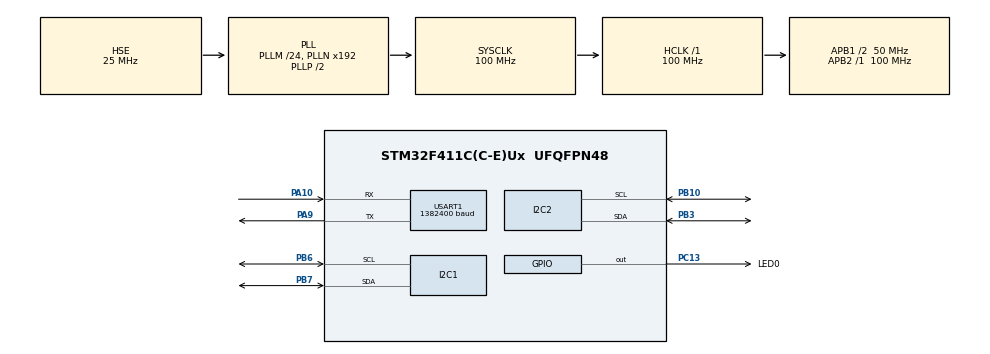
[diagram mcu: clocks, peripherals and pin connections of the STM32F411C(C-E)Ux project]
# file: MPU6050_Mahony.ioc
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I2C1.I2C_Mode=I2C_Fast
I2C2.I2C_Mode=I2C_Fast
Mcu.Family=STM32F4
Mcu.Name=STM32F411C(C-E)Ux
Mcu.Package=UFQFPN48
NVIC.PriorityGroup=NVIC_PRIORITYGROUP_4
NVIC.TIM1_UP_TIM10_IRQn=true\:15\:0\:false\:false\:true\:false\:true\:true
NVIC.TimeBase=TIM1_UP_TIM10_IRQn
NVIC.TimeBaseIP=TIM1
PA10.Mode=Asynchronous
PA10.Signal=USART1_RX
PA13.Mode=Serial_Wire
PA13.Signal=SYS_JTMS-SWDIO
PA14.Mode=Serial_Wire
PA14.Signal=SYS_JTCK-SWCLK
PA9.Mode=Asynchronous
PA9.Signal=USART1_TX
PB10.Mode=I2C
PB10.Signal=I2C2_SCL
PB3.Mode=I2C
PB3.Signal=I2C2_SDA
PB6.Mode=I2C
PB6.Signal=I2C1_SCL
PB7.Mode=I2C
PB7.Signal=I2C1_SDA
PC13-ANTI_TAMP.GPIO_Label=LED0
PC13-ANTI_TAMP.Signal=GPIO_Output
PC14-OSC32_IN.Mode=LSE-External-Oscillator
PC14-OSC32_IN.Signal=RCC_OSC32_IN
PC15-OSC32_OUT.Mode=LSE-External-Oscillator
PC15-OSC32_OUT.Signal=RCC_OSC32_OUT
PH0\ -\ OSC_IN.Mode=HSE-External-Oscillator
PH0\ -\ OSC_IN.Signal=RCC_OSC_IN
PH1\ -\ OSC_OUT.Mode=HSE-External-Oscillator
PH1\ -\ OSC_OUT.Signal=RCC_OSC_OUT
ProjectManager.HeapSize=0x800
ProjectManager.StackSize=0x800
ProjectManager.TargetToolchain=MDK-ARM V5.32
RCC.48MHZClocksFreq_Value=50000000
RCC.AHBFreq_Value=100000000
RCC.APB1CLKDivider=RCC_HCLK_DIV2
RCC.APB1Freq_Value=50000000
RCC.APB1TimFreq_Value=100000000
RCC.APB2Freq_Value=100000000
RCC.APB2TimFreq_Value=100000000
RCC.CortexFreq_Value=100000000
RCC.HCLKFreq_Value=100000000
RCC.HSE_VALUE=25000000
RCC.HSI_VALUE=16000000
RCC.PLLM=24
RCC.PLLSourceVirtual=RCC_PLLSOURCE_HSE
RCC.SYSCLKFreq_VALUE=100000000
RCC.SYSCLKSource=RCC_SYSCLKSOURCE_PLLCLK
RCC.VCOOutputFreq_Value=200000000
USART1.BaudRate=1382400
USART1.VirtualMode=VM_ASYNC
VP_SYS_VS_tim1.Mode=TIM1
board=custom

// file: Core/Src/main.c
/* USER CODE BEGIN Header */
/**
  ******************************************************************************
  * @file           : main.c
  * @brief          : Main program body
  ******************************************************************************
  * @attention
  *
  * Copyright (c) 2024 STMicroelectronics.
  * All rights reserved.
  *
  * This software is licensed under terms that can be found in the LICENSE file
  * in the root directory of this software component.
  * If no LICENSE file comes with this software, it is provided AS-IS.
  *
  ******************************************************************************
  */
/* USER CODE END Header */
#include "main.h"
#include "i2c.h"
#include "usart.h"
#include "gpio.h"

/* USER CODE BEGIN Includes */
#include "stm32f4xx_it.h"
#include "mpu6050.h"
/* USER CODE END Includes */

/* USER CODE BEGIN PV */
extern int offsetAcGyA[6];
extern int offsetAcGyB[6];
extern int offsetAcGyC[6];
extern int offsetAcGyD[6];
extern int offsetAcGyE[6];
extern int offsetAcGyF[6];
extern int offsetAcGyG[6];
extern int offsetAcGyH[6];
extern int offsetAcGyI[6];
extern int offsetAcGyJ[6];
extern uint8_t printFlag;
/* USER CODE END PV */

void SystemClock_Config(void);

int main(void)
{
  /* USER CODE BEGIN 1 */
	uint8_t firstUpdateFlag = 0;
  /* USER CODE END 1 */

  /* MCU Configuration--------------------------------------------------------*/

  /* Reset of all peripherals, Initializes the Flash interface and the Systick. */
  HAL_Init();

  /* Configure the system clock */
  SystemClock_Config();

  /* USER CODE BEGIN SysInit */
	cycleCounterInit();
  /* USER CODE END SysInit */

  /* Initialize all configured peripherals */
  MX_GPIO_Init();
  MX_I2C1_Init();
  MX_I2C2_Init();
  MX_USART1_UART_Init();
  /* USER CODE BEGIN 2 */
  Delay_ms(3000);
  HAL_GPIO_TogglePin(LED0_GPIO_Port, LED0_Pin);
	sensor_init(&armR, 		&hi2c2, 1, offsetAcGyA);
	sensor_init(&forearmR, 	&hi2c2, 0, offsetAcGyB);
	sensor_init(&armL, 		&hi2c2, 6, offsetAcGyJ);
	sensor_init(&forearmL, 	&hi2c2, 7, offsetAcGyD);
	sensor_init(&trunk, 	&hi2c2, 3, offsetAcGyE);
	sensor_init(&upperlegR, &hi2c1, 2, offsetAcGyF);
	sensor_init(&legR, 		&hi2c1, 3, offsetAcGyG);
	sensor_init(&upperlegL,	&hi2c1, 4, offsetAcGyH);
	sensor_init(&legL, 		&hi2c1, 5, offsetAcGyI);
	sensor_init(&head, 		&hi2c2, 2, offsetAcGyC);
//	  sensor_calibrate(&armR);
//	  sensor_calibrate(&forearmR);
//	  sensor_calibrate(&armL);
//	  sensor_calibrate(&forearmL);
//	  sensor_calibrate(&trunk);
//	  sensor_calibrate(&upperlegR);
//	  sensor_calibrate(&legR);
//	  sensor_calibrate(&upperlegL);
//	  sensor_calibrate(&legL);
//	  sensor_calibrate(&head);
  HAL_GPIO_TogglePin(LED0_GPIO_Port, LED0_Pin);
  /* USER CODE END 2 */

  /* Infinite loop */
  /* USER CODE BEGIN WHILE */
  while (1)
  {
	  if(firstUpdateFlag == 0)
	  {
		  printFlag = 0;
		  for(int i = 0; i < 1000; i++)
		  {
			  sensor_update(&armR);
			  sensor_update(&forearmR);
			  sensor_update(&armL);
			  sensor_update(&forearmL);
			  sensor_update(&trunk);
			  sensor_update(&upperlegR);
			  sensor_update(&legR);
			  sensor_update(&upperlegL);
			  sensor_update(&legL);
			  sensor_update(&head);
		  }
		  init_quaternion(&armR);
		  init_quaternion(&forearmR);
		  init_quaternion(&armL);
		  init_quaternion(&forearmL);
		  init_quaternion(&trunk);
		  init_quaternion(&upperlegR);
		  init_quaternion(&legR);
		  init_quaternion(&upperlegL);
		  init_quaternion(&legL);
		  init_quaternion(&head);
		  firstUpdateFlag = 1;
		  printFlag = 1;
	  }
	  sensor_update(&armR);
	  sensor_update(&forearmR);
	  sensor_update(&armL);
	  sensor_update(&forearmL);
	  sensor_update(&trunk);
	  sensor_update(&upperlegR);
	  sensor_update(&legR);
	  sensor_update(&upperlegL);
	  sensor_update(&legL);
	  sensor_update(&head);
	  print("\r\n");

	  HAL_GPIO_TogglePin(LED0_GPIO_Port, LED0_Pin);
    /* USER CODE END WHILE */

  }
}

void SystemClock_Config(void)
{
  RCC_OscInitTypeDef RCC_OscInitStruct = {0};
  RCC_ClkInitTypeDef RCC_ClkInitStruct = {0};

  /** Configure the main internal regulator output voltage
  */
  __HAL_RCC_PWR_CLK_ENABLE();
  __HAL_PWR_VOLTAGESCALING_CONFIG(PWR_REGULATOR_VOLTAGE_SCALE1);

  /** Initializes the RCC Oscillators according to the specified parameters
  * in the RCC_OscInitTypeDef structure.
  */
  RCC_OscInitStruct.OscillatorType = RCC_OSCILLATORTYPE_HSE;
  RCC_OscInitStruct.HSEState = RCC_HSE_ON;
  RCC_OscInitStruct.PLL.PLLState = RCC_PLL_ON;
  RCC_OscInitStruct.PLL.PLLSource = RCC_PLLSOURCE_HSE;
  RCC_OscInitStruct.PLL.PLLM = 24;
  RCC_OscInitStruct.PLL.PLLN = 192;
  RCC_OscInitStruct.PLL.PLLP = RCC_PLLP_DIV2;
  RCC_OscInitStruct.PLL.PLLQ = 4;
  if (HAL_RCC_OscConfig(&RCC_OscInitStruct) != HAL_OK)
  {
    Error_Handler();
  }

  /** Initializes the CPU, AHB and APB buses clocks
  */
  RCC_ClkInitStruct.ClockType = RCC_CLOCKTYPE_HCLK|RCC_CLOCKTYPE_SYSCLK
                              |RCC_CLOCKTYPE_PCLK1|RCC_CLOCKTYPE_PCLK2;
  RCC_ClkInitStruct.SYSCLKSource = RCC_SYSCLKSOURCE_PLLCLK;
  RCC_ClkInitStruct.AHBCLKDivider = RCC_SYSCLK_DIV1;
  RCC_ClkInitStruct.APB1CLKDivider = RCC_HCLK_DIV2;
  RCC_ClkInitStruct.APB2CLKDivider = RCC_HCLK_DIV1;

  if (HAL_RCC_ClockConfig(&RCC_ClkInitStruct, FLASH_LATENCY_3) != HAL_OK)
  {
    Error_Handler();
  }
}

void HAL_TIM_PeriodElapsedCallback(TIM_HandleTypeDef *htim)
{
  if (htim->Instance == TIM1) {
    HAL_IncTick();
  }
}

void Error_Handler(void)
{
  __disable_irq();
  while (1)
  {
  }
}
